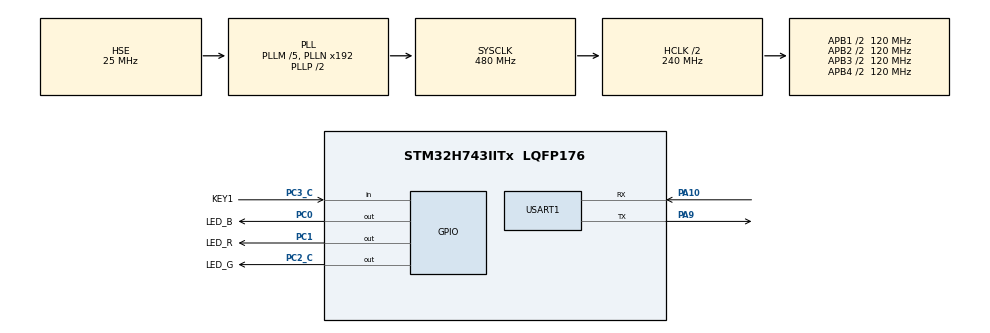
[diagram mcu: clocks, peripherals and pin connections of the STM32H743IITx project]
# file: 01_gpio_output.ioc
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CORTEX_M7.Enable_Spec=__NULL
CORTEX_M7.default_mode_Activation=1
Mcu.Family=STM32H7
Mcu.Name=STM32H743IITx
Mcu.Package=LQFP176
NVIC.PriorityGroup=NVIC_PRIORITYGROUP_4
NVIC.USART1_IRQn=true\:0\:0\:false\:false\:true\:true\:true\:true
PA10.Mode=Asynchronous
PA10.Signal=USART1_RX
PA13\ (JTMS/SWDIO).Mode=Serial_Wire
PA13\ (JTMS/SWDIO).Signal=DEBUG_JTMS-SWDIO
PA14\ (JTCK/SWCLK).Mode=Serial_Wire
PA14\ (JTCK/SWCLK).Signal=DEBUG_JTCK-SWCLK
PA9.Mode=Asynchronous
PA9.Signal=USART1_TX
PC0.GPIO_Label=LED_B
PC0.GPIO_ModeDefaultOutputPP=GPIO_MODE_OUTPUT_PP
PC0.GPIO_PuPd=GPIO_NOPULL
PC0.GPIO_Speed=GPIO_SPEED_FREQ_LOW
PC0.PinState=GPIO_PIN_RESET
PC0.Signal=GPIO_Output
PC1.GPIO_Label=LED_R
PC1.PinState=GPIO_PIN_RESET
PC1.Signal=GPIO_Output
PC2_C.GPIO_Label=LED_G
PC2_C.PinState=GPIO_PIN_RESET
PC2_C.Signal=GPIO_Output
PC3_C.GPIO_Label=KEY1
PC3_C.GPIO_PuPd=GPIO_PULLUP
PC3_C.Signal=GPIO_Input
PH0-OSC_IN\ (PH0).Mode=HSE-External-Oscillator
PH0-OSC_IN\ (PH0).Signal=RCC_OSC_IN
PH1-OSC_OUT\ (PH1).Mode=HSE-External-Oscillator
PH1-OSC_OUT\ (PH1).Signal=RCC_OSC_OUT
ProjectManager.HeapSize=0x200
ProjectManager.StackSize=0x400
ProjectManager.TargetToolchain=CMake
RCC.ADCFreq_Value=50390625
RCC.APB1Freq_Value=120000000
RCC.APB2Freq_Value=120000000
RCC.APB3Freq_Value=120000000
RCC.APB4Freq_Value=120000000
RCC.CortexFreq_Value=480000000
RCC.D1PPRE=RCC_APB3_DIV2
RCC.D2PPRE1=RCC_APB1_DIV2
RCC.D2PPRE2=RCC_APB2_DIV2
RCC.D3PPRE=RCC_APB4_DIV2
RCC.DIVM1=5
RCC.DIVN1=192
RCC.HCLKFreq_Value=240000000
RCC.HPRE=RCC_HCLK_DIV2
RCC.HSE_VALUE=25000000
RCC.PLLFRACN=0
RCC.PLLSourceVirtual=RCC_PLLSOURCE_HSE
RCC.SYSCLKFreq_VALUE=480000000
RCC.SYSCLKSource=RCC_SYSCLKSOURCE_PLLCLK
RCC.USBFreq_Value=480000000
USART1.FIFOMode=FIFOMODE_ENABLE
USART1.Parity=PARITY_NONE
USART1.RXFIFOThreshold=RXFIFO_THRESHOLD_HALFFULL
USART1.TXFIFOThreshold=TXFIFO_THRESHOLD_HALFFULL
USART1.VirtualMode-Asynchronous=VM_ASYNC
USART1.WordLength=WORDLENGTH_8B
VP_MEMORYMAP_VS_MEMORYMAP.Mode=CurAppReg
board=custom

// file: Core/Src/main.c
/* USER CODE BEGIN Header */
/**
  ******************************************************************************
  * @file           : main.c
  * @brief          : Main program body
  ******************************************************************************
  * @attention
  *
  * Copyright (c) 2025 STMicroelectronics.
  * All rights reserved.
  *
  * This software is licensed under terms that can be found in the LICENSE file
  * in the root directory of this software component.
  * If no LICENSE file comes with this software, it is provided AS-IS.
  *
  ******************************************************************************
  */
/* USER CODE END Header */
#include "main.h"
#include "memorymap.h"
#include "usart.h"
#include "gpio.h"

/* USER CODE BEGIN Includes */
#include <string.h>
#include <stdio.h>
/* USER CODE END Includes */

void SystemClock_Config(void);
static void MPU_Config(void);

/* USER CODE BEGIN 0 */
// #define RXBUFFERSIZE 30
// uint8_t aRxBuffer[RXBUFFERSIZE] __attribute__((section(".dma_buffer")));

// void HAL_UARTEx_RxEventCallback(UART_HandleTypeDef *huart,uint16_t size) {
//   if (huart->Instance == USART1) {
//     HAL_UART_DMAStop(huart);
//     // uint16_t size = RXBUFFERSIZE - __HAL_DMA_GET_COUNTER(huart->hdmarx);
//     // HAL_UART_ReceiveToIdle_DMA(huart, aRxBuffer, RXBUFFERSIZE);
//     // HAL_UART_Transmit(&huart1, aRxBuffer, size, 1000);
//     HAL_GPIO_TogglePin(LED_G_GPIO_Port, LED_G_Pin);
//   }
//
//
// }
uint8_t tx_buffer[30];

uint8_t rx_buffer[30];
void HAL_UARTEx_RxEventCallback(UART_HandleTypeDef *huart,uint16_t size) {
  if (huart->Instance == USART1) {
    HAL_UARTEx_ReceiveToIdle_IT(huart, rx_buffer, 10);
    // HAL_GPIO_TogglePin(LED_G_GPIO_Port, LED_G_Pin);
    sprintf((char *)tx_buffer,"%s",(char *)rx_buffer);
    HAL_UART_Transmit_IT(&huart1,tx_buffer,strlen(tx_buffer));
  }

}
void HAL_UART_RxCpltCallback(UART_HandleTypeDef *huart) {
  if (huart->Instance == USART1) {
    HAL_UART_Receive_IT(huart, rx_buffer, 10);
    // HAL_GPIO_TogglePin(LED_G_GPIO_Port, LED_G_Pin);
    sprintf((char *)tx_buffer,"%s",(char *)rx_buffer);
    HAL_UART_Transmit_IT(&huart1,tx_buffer,strlen(tx_buffer));
  }

}void HAL_UART_TxCpltCallback(UART_HandleTypeDef *huart) {

}
/* USER CODE END 0 */

int main(void)
{

  /* MPU Configuration--------------------------------------------------------*/
  MPU_Config();

  /* MCU Configuration--------------------------------------------------------*/

  /* Reset of all peripherals, Initializes the Flash interface and the Systick. */
  HAL_Init();

  /* Configure the system clock */
  SystemClock_Config();

  /* Initialize all configured peripherals */
  MX_GPIO_Init();
  MX_USART1_UART_Init();
  /* USER CODE BEGIN 2 */

  // HAL_UARTEx_ReceiveToIdle_IT(&huart1,rx_buffer,10);
  // HAL_UART_Receive_IT(&huart1,rx_buffer,1);
  // HAL_UART_Transmit(&huart1,(uint8_t *)"hello world\r\n",13,1000);

  HAL_UART_Transmit_IT(&huart1,(uint8_t *)"hello world\r\n",13);
  /*
   *
  *
  *
   *
   */

  /* USER CODE END 2 */

  /* Infinite loop */
  /* USER CODE BEGIN WHILE */
  while (1)
  {
    // HAL_GPIO_TogglePin(LED_B_GPIO_Port,LED_B_Pin);
    // HAL_Delay(1000);
    // HAL_GPIO_TogglePin(LED_G_GPIO_Port, LED_G_Pin);
    // HAL_Delay(1000);
    // HAL_GPIO_TogglePin(LED_R_GPIO_Port, LED_R_Pin);
    // HAL_Delay(1000);

    // if (HAL_GPIO_ReadPin(KEY1_GPIO_Port, KEY1_Pin) == GPIO_PIN_RESET)
    // {
    //   HAL_GPIO_WritePin(LED_G_GPIO_Port, LED_G_Pin, GPIO_PIN_SET);
    // }
    // else
    // {
    //   HAL_GPIO_WritePin(LED_G_GPIO_Port, LED_G_Pin, GPIO_PIN_RESET);
    // }
    /* USER CODE END WHILE */

  }
}

void SystemClock_Config(void)
{
  RCC_OscInitTypeDef RCC_OscInitStruct = {0};
  RCC_ClkInitTypeDef RCC_ClkInitStruct = {0};

  /** Supply configuration update enable
  */
  HAL_PWREx_ConfigSupply(PWR_LDO_SUPPLY);

  /** Configure the main internal regulator output voltage
  */
  __HAL_PWR_VOLTAGESCALING_CONFIG(PWR_REGULATOR_VOLTAGE_SCALE0);

  while(!__HAL_PWR_GET_FLAG(PWR_FLAG_VOSRDY)) {}

  /** Initializes the RCC Oscillators according to the specified parameters
  * in the RCC_OscInitTypeDef structure.
  */
  RCC_OscInitStruct.OscillatorType = RCC_OSCILLATORTYPE_HSE;
  RCC_OscInitStruct.HSEState = RCC_HSE_ON;
  RCC_OscInitStruct.PLL.PLLState = RCC_PLL_ON;
  RCC_OscInitStruct.PLL.PLLSource = RCC_PLLSOURCE_HSE;
  RCC_OscInitStruct.PLL.PLLM = 5;
  RCC_OscInitStruct.PLL.PLLN = 192;
  RCC_OscInitStruct.PLL.PLLP = 2;
  RCC_OscInitStruct.PLL.PLLQ = 2;
  RCC_OscInitStruct.PLL.PLLR = 2;
  RCC_OscInitStruct.PLL.PLLRGE = RCC_PLL1VCIRANGE_2;
  RCC_OscInitStruct.PLL.PLLVCOSEL = RCC_PLL1VCOWIDE;
  RCC_OscInitStruct.PLL.PLLFRACN = 0;
  if (HAL_RCC_OscConfig(&RCC_OscInitStruct) != HAL_OK)
  {
    Error_Handler();
  }

  /** Initializes the CPU, AHB and APB buses clocks
  */
  RCC_ClkInitStruct.ClockType = RCC_CLOCKTYPE_HCLK|RCC_CLOCKTYPE_SYSCLK
                              |RCC_CLOCKTYPE_PCLK1|RCC_CLOCKTYPE_PCLK2
                              |RCC_CLOCKTYPE_D3PCLK1|RCC_CLOCKTYPE_D1PCLK1;
  RCC_ClkInitStruct.SYSCLKSource = RCC_SYSCLKSOURCE_PLLCLK;
  RCC_ClkInitStruct.SYSCLKDivider = RCC_SYSCLK_DIV1;
  RCC_ClkInitStruct.AHBCLKDivider = RCC_HCLK_DIV2;
  RCC_ClkInitStruct.APB3CLKDivider = RCC_APB3_DIV2;
  RCC_ClkInitStruct.APB1CLKDivider = RCC_APB1_DIV2;
  RCC_ClkInitStruct.APB2CLKDivider = RCC_APB2_DIV2;
  RCC_ClkInitStruct.APB4CLKDivider = RCC_APB4_DIV2;

  if (HAL_RCC_ClockConfig(&RCC_ClkInitStruct, FLASH_LATENCY_4) != HAL_OK)
  {
    Error_Handler();
  }
}

 /* MPU Configuration */

void MPU_Config(void)
{

  /* Disables the MPU */
  HAL_MPU_Disable();

  /* Enables the MPU */
  HAL_MPU_Enable(MPU_PRIVILEGED_DEFAULT);

}

void Error_Handler(void)
{
  __disable_irq();
  while (1)
  {
  }
}
